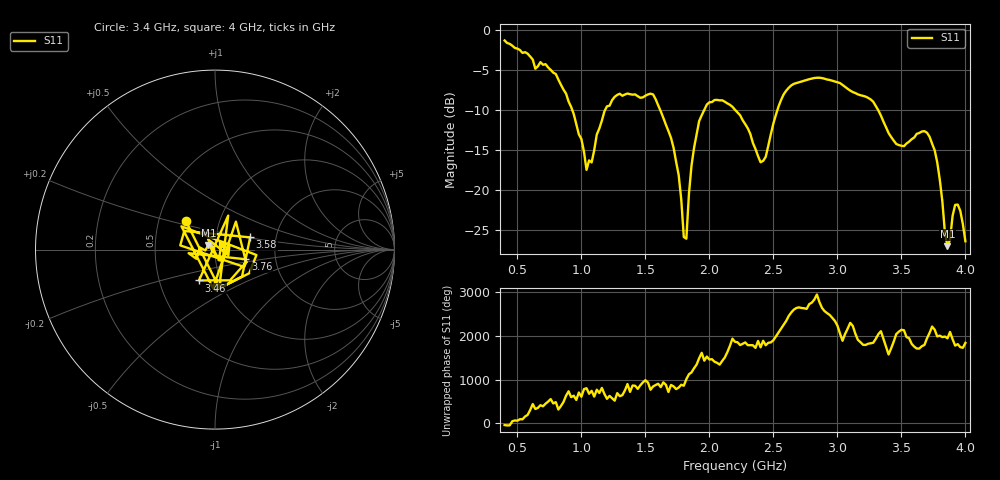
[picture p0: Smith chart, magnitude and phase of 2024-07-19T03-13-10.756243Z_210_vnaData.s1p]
!Created with skrf (http://scikit-rf.org).
# Hz S RI R 50.0
!freq ReS11 ImS11
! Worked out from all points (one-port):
!   181 points, 400 MHz to 4 GHz, reference 50 ohm
!   lowest |S11| = -27.0 dB at 3.86 GHz (marker M1), VSWR 1.09, Z = 46.4 + j2.36 ohm
!   |S11| at or under -10 dB: 1.615 GHz to 1.96 GHz (345.3 MHz wide, 19.3 % of centre); 2.2 GHz to 2.532 GHz (331.6 MHz wide, 14 % of centre); 3.317 GHz to end of sweep (the widest 3 of 4)
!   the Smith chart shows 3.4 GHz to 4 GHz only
!   S11 on the Smith chart (normalised r, x): 3.4 GHz: 0.69, +0.23; 3.46 GHz: 0.79, -0.28; 3.58 GHz: 1.47, +0.21; 3.76 GHz: 1.40, -0.15; 4 GHz: 1.08, +0.07
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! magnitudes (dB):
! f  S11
! 400 MHz  -1.4
! 860 MHz  -7.5
! 1.04 GHz  -17.5
! 1.18 GHz  -10.2
! 1.3 GHz  -8.0
! 1.56 GHz  -8.1
! 1.7 GHz  -13.5
! 1.76 GHz  -18.1
! 1.8 GHz  -25.8
! 1.82 GHz  -26.1
! 1.86 GHz  -17.0
! 1.92 GHz  -11.4
! 2.04 GHz  -8.8
! 2.2 GHz  -10.0
! 2.4 GHz  -16.5
! 2.56 GHz  -8.8
! 2.66 GHz  -6.8
! 3.1 GHz  -7.6
! 3.28 GHz  -9.0
! 3.4 GHz  -12.9
! 3.46 GHz  -14.3
! 3.56 GHz  -14.0
! 3.58 GHz  -13.7
! 3.68 GHz  -12.7
! 3.76 GHz  -15.0
! 3.86 GHz  -27.0
! 3.92 GHz  -21.8
! 4 GHz  -26.4
